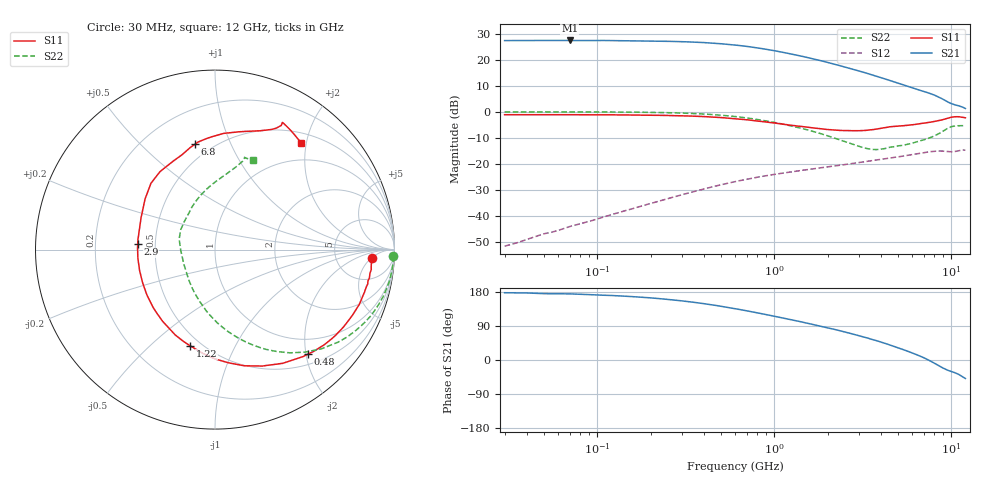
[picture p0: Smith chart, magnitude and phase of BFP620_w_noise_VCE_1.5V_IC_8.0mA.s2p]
! Infineon Technologies  Discrete & RF Semiconductors
! BFP620
! VCE =  1.5 V,  IC =  8.0 mA
! Common Emitter S-Parameters:  Nov 2015
# GHz  S  MA  R  50
!  f  S11  S21  S12  S22
! GHz  MAG  ANG  MAG  ANG  MAG  ANG  MAG  ANG
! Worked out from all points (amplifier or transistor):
!   239 points, 30 MHz to 12 GHz, reference 50 ohm
!   highest |S21| = 27.4 dB at 70 MHz (marker M1)
!   |S21| within 3 dB of that: start of sweep to 828 MHz
!   unconditionally stable (mu >= 1): 4.634 GHz to end of sweep
!   at 300 MHz: K = 0.11, MSG = 29.4 dB, |S12| = -31.9 dB
!   at 1.88 GHz: K = 0.65, MSG = 20.4 dB, |S12| = -21.5 dB
!   at 12 GHz: K = 1.16, MAG = 5.6 dB, |S12| = -14.8 dB
!   lowest NFmin = 0.69 dB at 450 MHz
!   S11 on the Smith chart (normalised r, x): 30 MHz: 13, -5; 480 MHz: 0.68, -2.03; 1.22 GHz: 0.44, -0.68; 2.9 GHz: 0.40, +0.03; 6.8 GHz: 0.41, +0.74; 12 GHz: 0.67, +1.91
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0.03  0.8761 -3.1  23.34 177.5  0.0026 87.7  0.9938 -2.2
0.04  0.8743 -4.2  23.45 176.9  0.0035 86.6  0.9942 -3.0
0.05  0.8747 -5.3  23.41 175.1  0.0045 86.9  0.9944 -3.7
0.07  0.8777 -7.3  23.47 174.5  0.0062 86.9  0.9941 -5.3
0.085  0.8735 -8.9  23.39 173.0  0.0074 85.5  0.9927 -6.5
0.14  0.8667 -14.6  23.23 168.7  0.0122 82.6  0.9856 -10.9
0.24  0.8499 -24.9  22.66 160.7  0.0205 77.3  0.962 -18.5
0.34  0.8249 -35.1  21.92 153.1  0.0283 72.3  0.9279 -25.9
0.4  0.8074 -41.0  21.37 148.7  0.0327 69.4  0.9033 -30.1
0.48  0.7791 -48.5  20.49 143.2  0.0381 65.8  0.8673 -35.6
0.6  0.7371 -59.3  19.18 135.5  0.0454 60.8  0.81 -43.1
0.7  0.7002 -67.9  18.05 129.6  0.0505 57.1  0.7593 -48.8
0.82  0.6604 -77.2  16.7 123.5  0.0558 53.4  0.7015 -54.9
1  0.6081 -90.2  14.93 115.4  0.0624 48.8  0.6236 -63.0
1.22  0.5541 -104.3  13.08 107.1  0.069 44.4  0.5417 -71.6
1.64  0.4886 -128.5  10.49 94.2  0.0795 38.5  0.4227 -86.1
2.16  0.4446 -154.0  8.299 81.3  0.09 33.1  0.3163 -103.2
2.9  0.4316 176.0  6.298 66.1  0.1035 26.9  0.2254 -129.7
4.5  0.5137 134.0  3.98 39.4  0.1288 14.3  0.2081 163.8
6.8  0.5974 100.8  2.526 8.5  0.161 -3.6  0.2806 114.5
9  0.7082 69.2  1.729 -21.6  0.1747 -25.4  0.4256 81.5
12  0.7641 51.0  1.155 -48.8  0.1822 -44.4  0.5453 67.0
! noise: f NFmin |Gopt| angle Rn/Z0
0.45  0.69  0.31  2  0.13
0.9  0.7  0.25  7  -0.06
1.9  0.72  0.15  26  -0.14
2.4  0.77  0.08  46  0.11
3.5  0.83  0.03  -168  0.12
5.5  1.17  0.07  -122  0.14
10  1.72  0.6  -53  0.74
